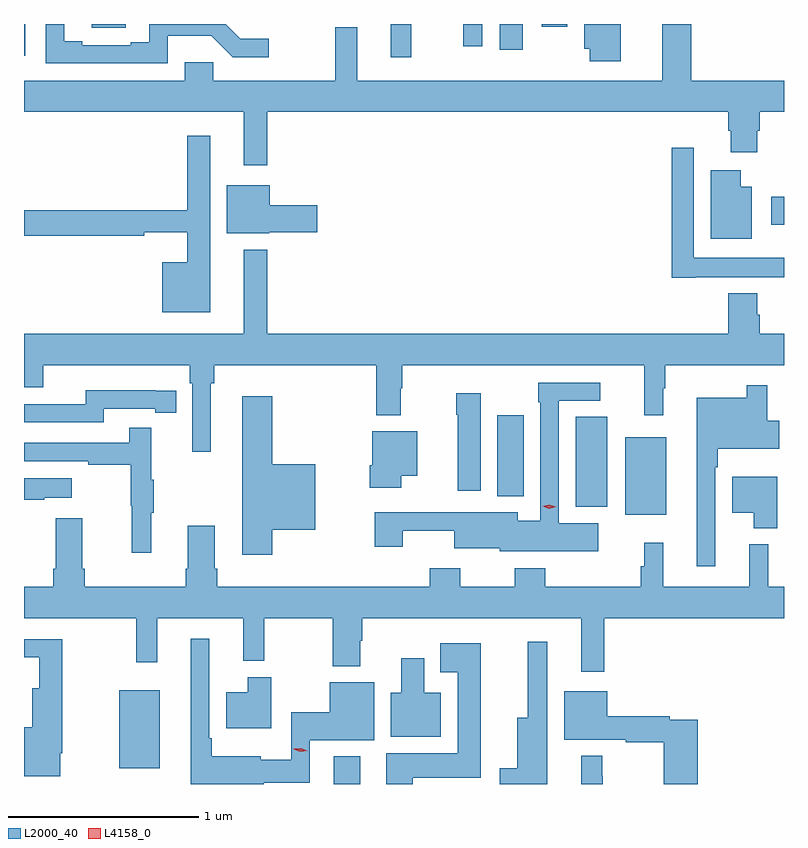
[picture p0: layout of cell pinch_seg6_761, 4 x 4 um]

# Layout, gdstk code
import gdstk
lib = gdstk.Library(unit=1e-6, precision=1e-09)
def R(c, l, rs):  # rectangles x0, y0, x1, y1
    for r in rs: c.add(gdstk.rectangle(r[:2], r[2:], *l))
def P(c, l, *ps):  # polygons
    for p in ps: c.add(gdstk.Polygon(p, *l))
L2000_40 = (2000, 40)
L4158_0 = (4158, 0)

pinch_seg6_761 = lib.new_cell('pinch_seg6_761')
R(pinch_seg6_761, L2000_40, [(328.991,978.431,329.131,978.577), (327.86,978.515,328.075,978.925), (330.524,979.847,330.739,980.257), (330.263,979.889,330.43,980.363), (329.852,979.946,329.989,980.371), (331.293,981.374,331.36,981.522), (329.291,982.257,329.398,982.431), (327.36,982.265,327.367,982.431), (329.864,982.296,329.986,982.431), (329.671,982.314,329.772,982.431), (327.717,982.411,327.896,982.431), (330.086,982.416,330.22,982.431)])
P(pinch_seg6_761, L2000_40, [(328.116,982.37),(328.345,982.37),(328.458,982.257),(328.648,982.257),(328.648,982.354),(328.499,982.354),(328.422,982.431),(328.02,982.431),(328.02,982.334),(327.923,982.334),(327.923,982.32),(327.667,982.32),(327.667,982.34),(327.571,982.34),(327.571,982.431),(327.474,982.431),(327.474,982.224),(328.116,982.224)],
  [(330.502,982.431),(330.308,982.431),(330.308,982.301),(330.337,982.301),(330.337,982.236),(330.502,982.236)],
  [(328.639,981.968),(331.067,981.968),(331.067,981.87),(331.079,981.87),(331.079,981.756),(331.219,981.756),(331.219,981.87),(331.232,981.87),(331.232,981.968),(331.36,981.968),(331.36,982.132),(330.872,982.132),(330.872,982.431),(330.719,982.431),(330.719,982.132),(329.113,982.132),(329.113,982.414),(328.999,982.414),(328.999,982.132),(328.357,982.132),(328.357,982.23),(328.205,982.23),(328.205,982.132),(327.36,982.132),(327.36,981.968),(328.517,981.968),(328.517,981.687),(328.639,981.687)],
  [(328.339,981.844),(328.218,981.844),(328.218,981.452),(327.36,981.452),(327.36,981.316),(327.992,981.316),(327.992,981.335),(328.218,981.335),(328.218,981.178),(328.088,981.178),(328.088,980.915),(328.339,980.915)],
  [(330.892,981.098),(331.36,981.098),(331.36,981.202),(330.885,981.202),(330.885,981.781),(330.769,981.781),(330.769,981.096),(330.892,981.096)],
  [(331.189,981.574),(331.132,981.574),(331.132,981.661),(330.974,981.661),(330.974,981.302),(331.189,981.302)],
  [(328.65,981.335),(328.903,981.335),(328.903,981.477),(328.654,981.477),(328.654,981.583),(328.427,981.583),(328.427,981.329),(328.65,981.329)],
  [(331.36,980.8),(331.232,980.8),(331.232,980.901),(331.219,980.901),(331.219,981.013),(331.067,981.013),(331.067,980.8),(328.639,980.8),(328.639,981.244),(328.517,981.244),(328.517,980.8),(327.36,980.8),(327.36,980.519),(327.46,980.519),(327.46,980.636),(328.232,980.636),(328.232,980.54),(328.245,980.54),(328.245,980.181),(328.342,980.181),(328.342,980.54),(328.361,980.54),(328.361,980.636),(329.215,980.636),(329.215,980.373),(329.344,980.373),(329.344,980.513),(329.351,980.513),(329.351,980.636),(330.625,980.636),(330.625,980.373),(330.724,980.373),(330.724,980.513),(330.736,980.513),(330.736,980.636),(331.36,980.636)],
  [(330.382,979.804),(330.174,979.804),(330.174,980.448),(330.394,980.448),(330.394,980.544),(330.066,980.544),(330.066,980.441),(330.078,980.441),(330.078,979.816),(329.959,979.816),(329.959,979.861),(329.728,979.861),(329.728,979.862),(329.206,979.862),(329.206,979.68),(329.353,979.68),(329.353,979.763),(329.624,979.763),(329.624,979.673),(329.865,979.673),(329.865,979.655),(330.382,979.655)],
  [(330.999,980.099),(331.012,980.099),(331.012,980.195),(331.336,980.195),(331.336,980.343),(331.273,980.343),(331.273,980.53),(331.164,980.53),(331.164,980.464),(330.902,980.464),(330.902,979.578),(330.999,979.578)],
  [(327.78,980.406),(328.052,980.406),(328.052,980.386),(328.16,980.386),(328.16,980.502),(328.052,980.502),(328.052,980.503),(327.684,980.503),(327.684,980.43),(327.36,980.43),(327.36,980.334),(327.78,980.334)],
  [(329.764,980.488),(329.635,980.488),(329.635,980.375),(329.642,980.375),(329.642,979.974),(329.764,979.974)],
  [(328.667,979.769),(328.894,979.769),(328.894,980.113),(328.667,980.113),(328.667,980.473),(328.508,980.473),(328.508,979.638),(328.667,979.638)],
  [(328.031,979.859),(328.042,979.859),(328.042,980.033),(328.031,980.033),(328.031,980.305),(327.913,980.305),(327.913,980.226),(327.36,980.226),(327.36,980.13),(327.697,980.13),(327.697,980.11),(327.921,980.11),(327.921,979.896),(327.928,979.896),(327.928,979.647),(328.031,979.647)],
  [(329.346,980.054),(329.431,980.054),(329.431,980.287),(329.192,980.287),(329.192,980.109),(329.18,980.109),(329.18,979.991),(329.346,979.991)],
  [(331.324,980.047),(331.088,980.047),(331.088,979.859),(331.202,979.859),(331.202,979.778),(331.324,979.778)],
  [(327.467,979.937),(327.61,979.937),(327.61,980.041),(327.36,980.041),(327.36,979.927),(327.467,979.927)],
  [(327.527,979.831),(327.527,979.564),(327.515,979.564),(327.515,979.468),(327.36,979.468),(327.36,979.304),(327.951,979.304),(327.951,979.071),(328.061,979.071),(328.061,979.304),(328.514,979.304),(328.514,979.079),(328.624,979.079),(328.624,979.304),(328.984,979.304),(328.984,979.052),(329.131,979.052),(329.131,979.184),(329.139,979.184),(329.139,979.304),(330.293,979.304),(330.293,979.023),(330.415,979.023),(330.415,979.304),(331.36,979.304),(331.36,979.468),(331.276,979.468),(331.276,979.693),(331.178,979.693),(331.178,979.468),(330.725,979.468),(330.725,979.702),(330.625,979.702),(330.625,979.577),(330.607,979.577),(330.607,979.468),(330.104,979.468),(330.104,979.567),(329.944,979.567),(329.944,979.468),(329.655,979.468),(329.655,979.567),(329.495,979.567),(329.495,979.468),(328.376,979.468),(328.376,979.564),(328.363,979.564),(328.363,979.789),(328.223,979.789),(328.223,979.564),(328.211,979.564),(328.211,979.468),(327.68,979.468),(327.68,979.564),(327.667,979.564),(327.667,979.831)],
  [(328.621,978.438),(328.863,978.438),(328.863,978.662),(329.203,978.662),(329.203,978.967),(328.97,978.967),(328.97,978.809),(328.767,978.809),(328.767,978.559),(328.605,978.559),(328.605,978.577),(328.348,978.577),(328.348,978.673),(328.335,978.673),(328.335,979.195),(328.238,979.195),(328.238,978.431),(328.621,978.431)],
  [(327.55,978.594),(327.562,978.594),(327.562,979.194),(327.36,979.194),(327.36,979.097),(327.441,979.097),(327.441,978.934),(327.404,978.934),(327.404,978.73),(327.362,978.73),(327.362,978.473),(327.55,978.473)],
  [(330.115,979.18),(330.011,979.18),(330.011,978.781),(329.957,978.781),(329.957,978.514),(329.864,978.514),(329.864,978.431),(330.115,978.431)],
  [(329.407,978.464),(329.764,978.464),(329.764,979.171),(329.552,979.171),(329.552,979.019),(329.642,979.019),(329.642,978.592),(329.267,978.592),(329.267,978.431),(329.407,978.431)],
  [(329.554,978.91),(329.467,978.91),(329.467,979.093),(329.345,979.093),(329.345,978.91),(329.291,978.91),(329.291,978.68),(329.554,978.68)],
  [(328.66,978.994),(328.538,978.994),(328.538,978.913),(328.424,978.913),(328.424,978.725),(328.66,978.725)],
  [(330.905,978.768),(330.758,978.768),(330.758,978.788),(330.43,978.788),(330.43,978.919),(330.203,978.919),(330.203,978.665),(330.526,978.665),(330.526,978.652),(330.727,978.652),(330.727,978.431),(330.905,978.431)],
  [(330.407,978.473),(330.404,978.473),(330.404,978.58),(330.293,978.58),(330.293,978.431),(330.407,978.431)])
P(pinch_seg6_761, L4158_0, [(328.814,978.601),(328.78,978.615),(328.78,978.616),(328.78,978.616),(328.817,978.62),(328.851,978.605),(328.851,978.605),(328.851,978.605)],
  [(330.124,979.881),(330.09,979.892),(330.09,979.892),(330.09,979.893),(330.125,979.901),(330.16,979.89),(330.16,979.89),(330.16,979.89)])

lib.write_gds('pinch_seg6_761.gds')
